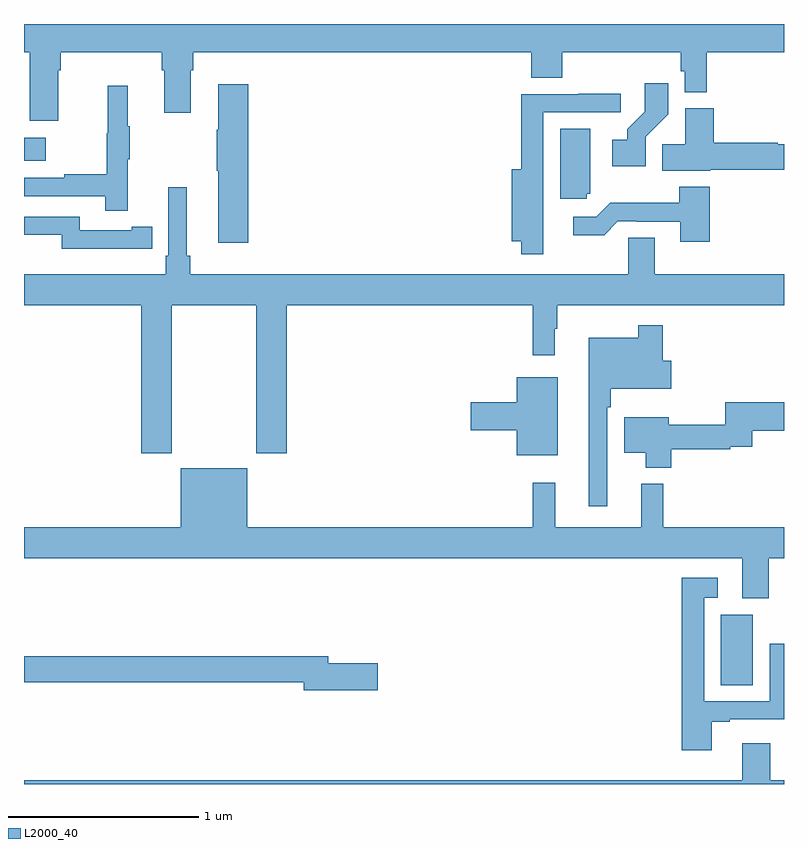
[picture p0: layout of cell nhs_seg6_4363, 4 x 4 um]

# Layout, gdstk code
import gdstk
lib = gdstk.Library(unit=1e-6, precision=1e-09)
def R(c, l, rs):  # rectangles x0, y0, x1, y1
    for r in rs: c.add(gdstk.rectangle(r[:2], r[2:], *l))
def P(c, l, *ps):  # polygons
    for p in ps: c.add(gdstk.Polygon(p, *l))
L2000_40 = (2000, 40)

nhs_seg6_4363 = lib.new_cell('nhs_seg6_4363')
R(nhs_seg6_4363, L2000_40, [(372.668,928.021,372.835,928.392), (369,930.779,369.115,930.901)])
P(nhs_seg6_4363, L2000_40, [(369.181,931.256),(369.194,931.256),(369.194,931.352),(369.725,931.352),(369.725,931.256),(369.737,931.256),(369.737,931.032),(369.877,931.032),(369.877,931.256),(369.89,931.256),(369.89,931.352),(371.669,931.352),(371.669,931.216),(371.834,931.216),(371.834,931.352),(372.457,931.352),(372.457,931.251),(372.477,931.251),(372.477,931.142),(372.593,931.142),(372.593,931.352),(373,931.352),(373,931.5),(369,931.5),(369,931.352),(369.029,931.352),(369.029,930.99),(369.181,930.99)],
  [(372.273,930.907),(372.392,931.026),(372.392,931.189),(372.267,931.189),(372.267,931.037),(372.176,930.947),(372.176,930.892),(372.096,930.892),(372.096,930.752),(372.273,930.752)],
  [(370.181,931.183),(370.022,931.183),(370.022,930.944),(370.015,930.944),(370.015,930.727),(370.022,930.727),(370.022,930.348),(370.181,930.348)],
  [(369.545,930.787),(369.556,930.787),(369.556,930.961),(369.545,930.961),(369.545,931.174),(369.442,931.174),(369.442,930.924),(369.435,930.924),(369.435,930.71),(369.211,930.71),(369.211,930.69),(369,930.69),(369,930.594),(369.427,930.594),(369.427,930.516),(369.545,930.516)],
  [(371.733,931.035),(372.142,931.035),(372.142,931.134),(371.917,931.134),(371.917,931.131),(371.617,931.131),(371.617,930.736),(371.567,930.736),(371.567,930.356),(371.617,930.356),(371.617,930.288),(371.733,930.288)],
  [(372.612,930.734),(373,930.734),(373,930.867),(372.968,930.867),(372.968,930.876),(372.629,930.876),(372.629,931.057),(372.479,931.057),(372.479,930.866),(372.358,930.866),(372.358,930.728),(372.612,930.728)],
  [(371.961,930.606),(371.98,930.606),(371.98,930.95),(371.822,930.95),(371.822,930.579),(371.961,930.579)],
  [(372.608,930.643),(372.448,930.643),(372.448,930.559),(372.085,930.559),(372.012,930.486),(371.892,930.486),(371.892,930.389),(372.053,930.389),(372.126,930.462),(372.226,930.462),(372.226,930.459),(372.455,930.459),(372.455,930.354),(372.608,930.354)],
  [(369.777,930.02),(370.222,930.02),(370.222,929.241),(370.382,929.241),(370.382,930.02),(371.677,930.02),(371.677,929.757),(371.794,929.757),(371.794,929.897),(371.806,929.897),(371.806,930.02),(373,930.02),(373,930.184),(372.319,930.184),(372.319,930.374),(372.18,930.374),(372.18,930.184),(369.875,930.184),(369.875,930.28),(369.856,930.28),(369.856,930.64),(369.759,930.64),(369.759,930.28),(369.746,930.28),(369.746,930.184),(369,930.184),(369,930.02),(369.617,930.02),(369.617,929.241),(369.777,929.241)],
  [(369.566,930.318),(369.674,930.318),(369.674,930.434),(369.566,930.434),(369.566,930.414),(369.294,930.414),(369.294,930.486),(369,930.486),(369,930.39),(369.198,930.39),(369.198,930.317),(369.566,930.317)],
  [(372.069,929.483),(372.089,929.483),(372.089,929.579),(372.406,929.579),(372.406,929.727),(372.362,929.727),(372.362,929.914),(372.234,929.914),(372.234,929.848),(371.972,929.848),(371.972,928.962),(372.069,928.962)],
  [(371.809,929.641),(371.594,929.641),(371.594,929.51),(371.352,929.51),(371.352,929.363),(371.594,929.363),(371.594,929.231),(371.809,929.231)],
  [(372.407,929.262),(372.716,929.262),(372.716,929.274),(372.833,929.274),(372.833,929.36),(373,929.36),(373,929.51),(372.692,929.51),(372.692,929.39),(372.394,929.39),(372.394,929.431),(372.158,929.431),(372.158,929.243),(372.272,929.243),(372.272,929.165),(372.407,929.165)],
  [(372.919,928.688),(373,928.688),(373,928.852),(372.365,928.852),(372.365,929.08),(372.248,929.08),(372.248,928.852),(371.795,928.852),(371.795,929.086),(371.677,929.086),(371.677,928.852),(370.174,928.852),(370.174,929.161),(369.824,929.161),(369.824,928.852),(369,928.852),(369,928.688),(372.779,928.688),(372.779,928.477),(372.919,928.477)],
  [(372.619,927.828),(372.715,927.828),(372.715,927.84),(373,927.84),(373,928.237),(372.924,928.237),(372.924,927.936),(372.579,927.936),(372.579,928.479),(372.652,928.479),(372.652,928.585),(372.463,928.585),(372.463,927.678),(372.619,927.678)],
  [(370.861,928.136),(370.6,928.136),(370.6,928.172),(369,928.172),(369,928.036),(370.472,928.036),(370.472,927.994),(370.861,927.994)],
  [(373,927.52),(372.927,927.52),(372.927,927.715),(372.779,927.715),(372.779,927.52),(369,927.52),(369,927.5),(373,927.5)])

lib.write_gds('nhs_seg6_4363.gds')
